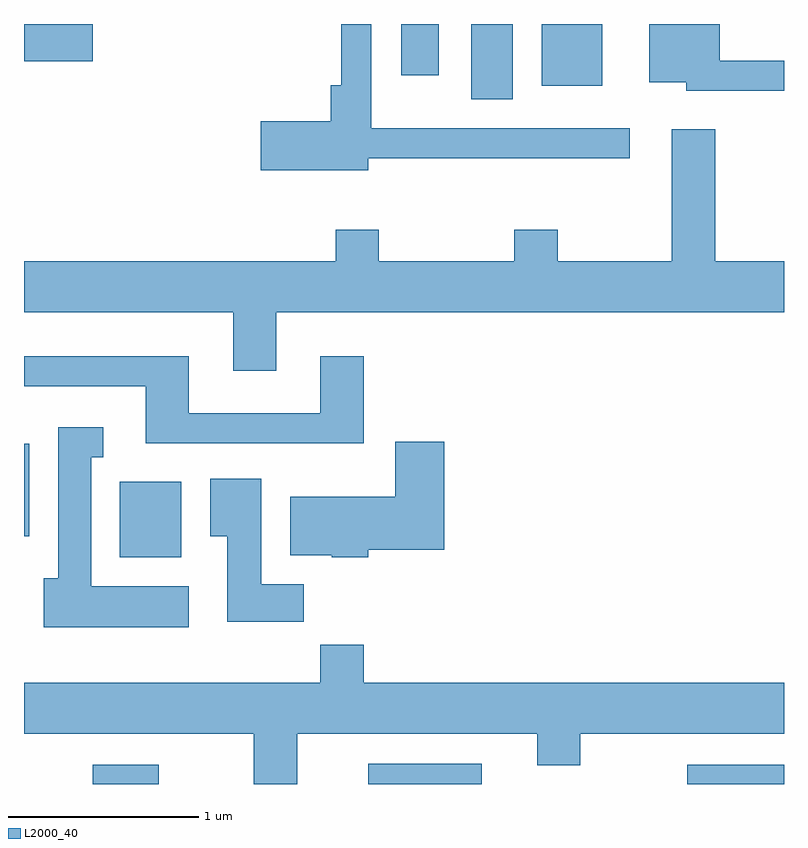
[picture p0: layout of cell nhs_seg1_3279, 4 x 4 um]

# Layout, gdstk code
import gdstk
lib = gdstk.Library(unit=1e-6, precision=1e-09)
def R(c, l, rs):  # rectangles x0, y0, x1, y1
    for r in rs: c.add(gdstk.rectangle(r[:2], r[2:], *l))
def P(c, l, *ps):  # polygons
    for p in ps: c.add(gdstk.Polygon(p, *l))
L2000_40 = (2000, 40)

nhs_seg1_3279 = lib.new_cell('nhs_seg1_3279')
R(nhs_seg1_3279, L2000_40, [(283.973,943.712,284.319,943.814), (285.423,943.712,286.019,943.819), (287.103,943.712,287.611,943.814), (284.116,944.906,284.439,945.304), (283.611,945.016,283.639,945.504), (285.966,947.316,286.184,947.712), (286.336,947.386,286.654,947.712), (285.596,947.441,285.794,947.712), (283.611,947.516,283.974,947.712)])
P(nhs_seg1_3279, L2000_40, [(285.424,947.006),(286.798,947.006),(286.798,947.164),(285.439,947.164),(285.439,947.712),(285.281,947.712),(285.281,947.389),(285.226,947.389),(285.226,947.199),(284.856,947.199),(284.856,946.941),(285.424,946.941)],
  [(287.611,947.519),(287.274,947.519),(287.274,947.712),(286.901,947.712),(286.901,947.406),(287.096,947.406),(287.096,947.361),(287.611,947.361)],
  [(284.939,946.196),(287.611,946.196),(287.611,946.464),(287.249,946.464),(287.249,947.159),(287.021,947.159),(287.021,946.464),(286.419,946.464),(286.419,946.629),(286.191,946.629),(286.191,946.464),(285.479,946.464),(285.479,946.629),(285.251,946.629),(285.251,946.464),(283.611,946.464),(283.611,946.196),(284.711,946.196),(284.711,945.886),(284.939,945.886)],
  [(285.399,945.964),(285.171,945.964),(285.171,945.664),(284.479,945.664),(284.479,945.964),(283.611,945.964),(283.611,945.806),(284.251,945.806),(284.251,945.506),(285.399,945.506)],
  [(284.479,944.754),(283.964,944.754),(283.964,945.431),(284.028,945.431),(284.028,945.589),(283.791,945.589),(283.791,944.794),(283.716,944.794),(283.716,944.536),(284.479,944.536)],
  [(285.424,944.946),(285.824,944.946),(285.824,945.514),(285.566,945.514),(285.566,945.224),(285.011,945.224),(285.011,944.916),(285.23,944.916),(285.23,944.906),(285.424,944.906)],
  [(285.084,944.764),(284.859,944.764),(284.859,945.319),(284.591,945.319),(284.591,945.016),(284.681,945.016),(284.681,944.566),(285.084,944.566)],
  [(285.049,943.976),(286.311,943.976),(286.311,943.811),(286.539,943.811),(286.539,943.976),(287.611,943.976),(287.611,944.244),(285.399,944.244),(285.399,944.444),(285.171,944.444),(285.171,944.244),(283.611,944.244),(283.611,943.976),(284.821,943.976),(284.821,943.712),(285.049,943.712)])

lib.write_gds('nhs_seg1_3279.gds')
